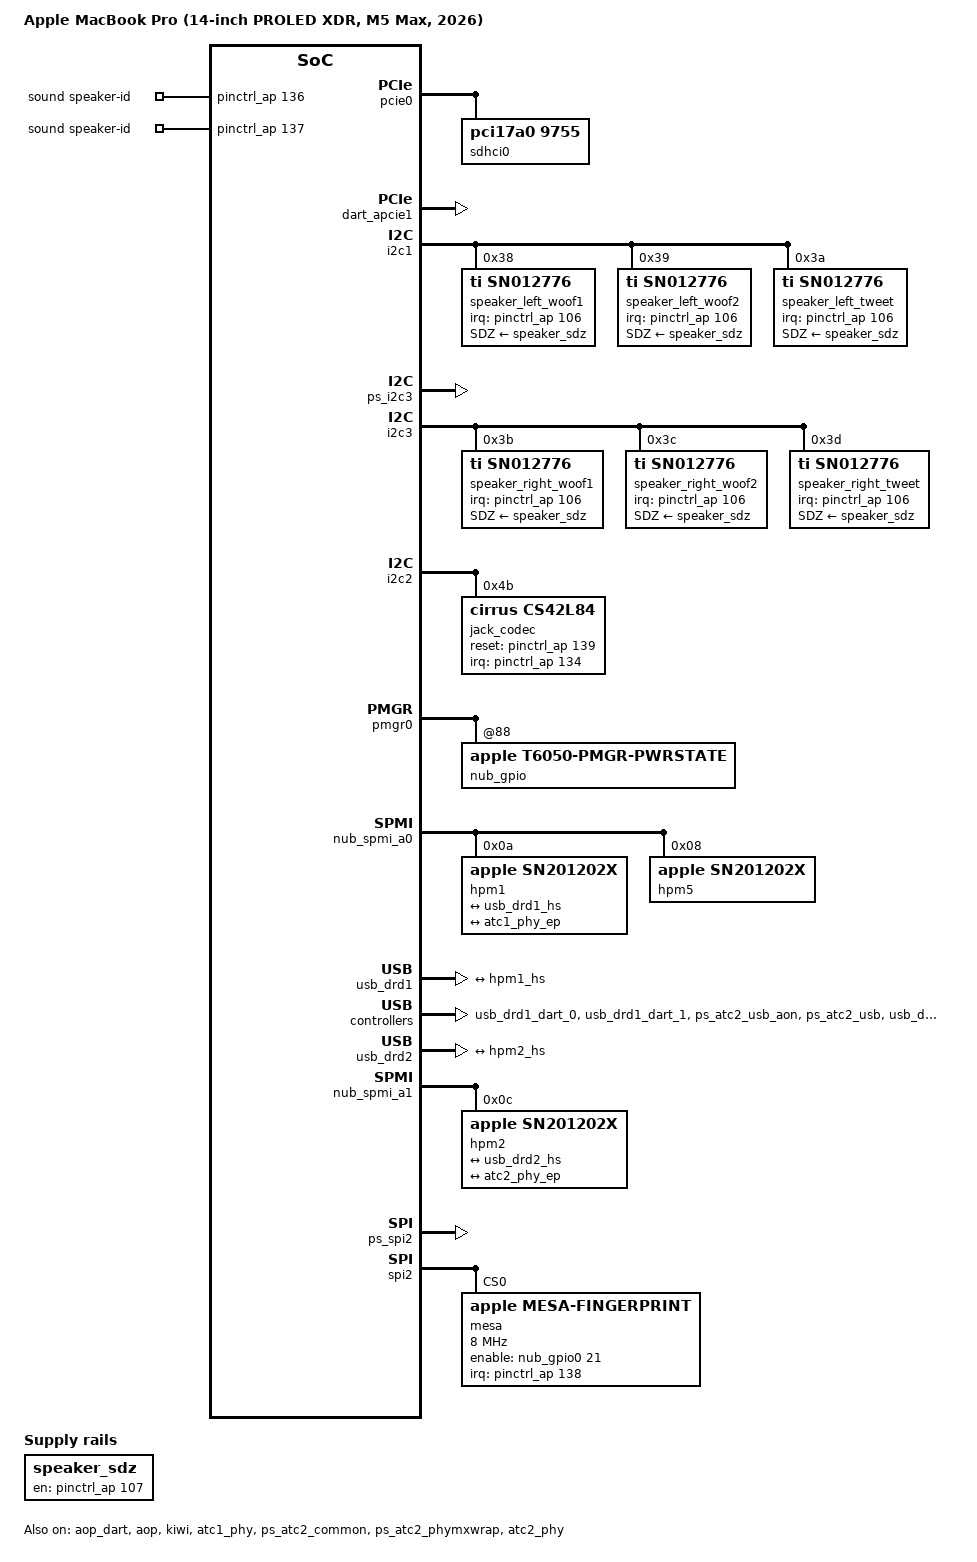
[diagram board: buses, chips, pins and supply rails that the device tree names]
// SPDX-License-Identifier: GPL-2.0+ OR MIT
/*
 * MacBook Pro (14-inch PROLED XDR, M5 Max, 2026)
 *
 * target-type: K114c (Mac17,11)
 *
 * Preliminary: described from the ADT only, not yet booted on the hardware.
 *
 * Copyright The Asahi Linux Contributors
 */

#include "t6050-k114-k116.dtsi"

/ {
	compatible = "apple,k114c", "apple,t6050", "apple,arm-platform";
	model = "Apple MacBook Pro (14-inch PROLED XDR, M5 Max, 2026)";
};

&mtp_multitouch {
	firmware-name = "apple/tpmtfw-k114c.bin";
};

#define T6050_K114C
#include "t6050-peripherals.dtsi"

/ {
	aliases {
		/* kboot fills the N1's factory addresses from /chosen through these */
		wifi0 = &n1_alpha;
		bluetooth0 = &n1_beta;
	};
};

/*
 * PCIe port 0: the N1 (Wi-Fi and Bluetooth), laid out as on J716c: the boot
 * loader trains the link and keeps power, clocks, the PHY and PERST; Linux owns
 * the routing, MSI and the DART. The port stays disabled until the loader
 * trains it.
 */
&pcie0 {
	reg = <0x1c 0xb0000000 0x0 0x10000000>,
	      <0x4 0x14000000 0x0 0x4000>,
	      <0x4 0x10028000 0x0 0x8000>,
	      <0x4 0x17010000 0x0 0x4000>,
	      <0x4 0x10024000 0x0 0x4000>,
	      <0x4 0x11028000 0x0 0x8000>,
	      <0x4 0x17014000 0x0 0x4000>,
	      <0x4 0x11024000 0x0 0x4000>,
	      <0x4 0x17020000 0x0 0x4000>;
	reg-names = "config", "rc", "port0", "phy0", "intr2axi0", "port1", "phy1", "intr2axi1",
		    "phy-shared";
	interrupts = <AIC_IRQ 0 1523 IRQ_TYPE_LEVEL_HIGH>,
		     <AIC_IRQ 0 1531 IRQ_TYPE_LEVEL_HIGH>;
	interrupt-names = "port0", "port1";

	/* The N1's three functions are on DART streams 1-3 */
	iommu-map = <0x100 &dart_apcie0 1 3>,
		    <0x200 &dart_apcie1 1 1>;
	bus-range = <0 4>;
	/* dart_apcie1 probes only once port 1 is up: the host must not wait for it */
	post-init-providers = <&dart_apcie1>;
	status = "okay";

	port00: pci@0,0 {
		device_type = "pci";
		reg = <0x0 0 0 0 0>;
		bus-range = <1 1>;
		apple,link-trained-by-bootloader;
		/* PERST#, driven only by the root-port reset after the N1's ROM stage */
		reset-gpios = <&pinctrl_ap 80 GPIO_ACTIVE_LOW>;
		status = "disabled";

		#address-cells = <3>;
		#size-cells = <2>;
		ranges;

		interrupt-controller;
		#interrupt-cells = <1>;
		interrupt-map-mask = <0 0 0 7>;
		interrupt-map = <0 0 0 1 &port00 0 0 0 0>,
				<0 0 0 2 &port00 0 0 0 1>,
				<0 0 0 3 &port00 0 0 0 2>,
				<0 0 0 4 &port00 0 0 0 3>;

		/* platform ID (board 0x04 << 16) | chip 0x6050 */
		n1_control: control@0,0 {
			compatible = "pci106b,1900";
			reg = <0x10000 0x0 0x0 0x0 0x0>;
			firmware-name = "apple/centauri/k114c-ftab.bin";
			apple,centauri-platform-id = <0x00046050>;
			apple,centauri-protocol = <27>;
		};

		n1_alpha: wifi@0,1 {
			compatible = "pci106b,1902";
			reg = <0x10100 0x0 0x0 0x0 0x0>;
			local-mac-address = [00 00 00 00 00 00];
		};

		n1_beta: bluetooth@0,2 {
			compatible = "pci106b,1903";
			reg = <0x10200 0x0 0x0 0x0 0x0>;
			local-bd-address = [00 00 00 00 00 00];
		};
	};

	/*
	 * PCIe port 1: the SD card reader (ADT pci-bridge1/pcie-sdreader, a GL9755), as on
	 * J714s. The boot loader leaves it down, so the kernel trains it: power is the SMC
	 * pcIO output of function-sd_pwr_en (index 3 below), PERST# GPIO 81, IRQ 1531. It is
	 * on stream 1 of dart-apcie1. The link tunables are pci-bridge1's, as on port 0.
	 */
	port01: pci@1,0 {
		device_type = "pci";
		reg = <0x800 0 0 0 0>;
		bus-range = <2 2>;
		apple,link-trained-by-bootloader;
		pwren-gpios = <&smc_pcio 3 GPIO_ACTIVE_HIGH>;
		reset-gpios = <&pinctrl_ap 81 GPIO_ACTIVE_LOW>;
		apple,apcie-config-tunables = <0x140 4 0x1 0x1>,
			<0x144 4 0xffffff 0x253770>,
			<0x8a8 4 0x1 0x1>,
			<0x8ac 4 0x1 0x1>;
		apple,pcie-rc-tunables = <0x78 4 0x7000 0x0>,
			<0x194 4 0x2 0x2>,
			<0xb80 4 0x7f3f3f 0x7f1e1e>,
			<0xb88 4 0x7f3f3f 0x7f1e1e>;
		apple,pcie-rc-gen3-shadow-tunables = <0x154 4 0xf0f0f0f 0x5050505>,
			<0x890 4 0x3000000 0x0>,
			<0x8a8 4 0xffff0f 0x1>;
		apple,pcie-rc-gen4-shadow-tunables = <0x178 4 0xffff 0x5555>,
			<0x890 4 0x3000000 0x1000000>,
			<0x8a8 4 0xffff0f 0x1>;
		apple,pcie-rc-gen5-shadow-tunables = <0x1ac 4 0xffff 0x5555>,
			<0x890 4 0x3000000 0x2000000>,
			<0x8a8 4 0xffff0f 0x1>;

		#address-cells = <3>;
		#size-cells = <2>;
		ranges;

		interrupt-controller;
		#interrupt-cells = <1>;
		interrupt-map-mask = <0 0 0 7>;
		interrupt-map = <0 0 0 1 &port01 0 0 0 0>,
				<0 0 0 2 &port01 0 0 0 1>,
				<0 0 0 3 &port01 0 0 0 2>,
				<0 0 0 4 &port01 0 0 0 3>;

		/* The GL9755; card detect and write protect active high (ADT *-polarity = 1) */
		sdhci0: mmc@0,0 {
			compatible = "pci17a0,9755";
			reg = <0x20000 0x0 0x0 0x0 0x0>;
			cd-inverted;
			wp-inverted;
		};
	};
};

/*
 * Pin 112's register takes an SError when read, so only the pins a node here
 * names are exposed: 80 and 81 (PCIe ports 0 and 1's PERST#); 106 and 107, the speaker
 * amps' interrupt and shutdown line; 134 and 139, the jack codec's interrupt and
 * reset; 136 and 137, the speaker ID; 138, the Touch ID sensor's data-ready line.
 */
&pinctrl_ap {
	gpio-reserved-ranges = <0 80>, <82 24>, <108 26>, <135 1>, <140 81>;
};

/* It answers only once port 1's root complex is up: pcie-apple then enables it */
&dart_apcie1 {
	apple,manual-availability;
	status = "okay";
};

/*
 * The board's pcIO outputs (t6050-k114-k116.dtsi lists indices 0 to 2), plus index 3,
 * sd_pwr_en pKW8('pcIO', 0x0, 0x190000): ADT pcie-sdreader function-sd_pwr_en.
 */
&smc_pcio {
	apple,output-commands = /bits/ 64 <0x001a000000000000 0x000f000000800000
					   0x011c000000010000 0x0019000000000000>;
};

#include "t6050-k114c-gpu.dtsi"
#include "t6050-k114c-isp.dtsi"

/*
 * Sound through the AOP, as on J813: its audio service runs the serializers, the
 * CS42L84 headphone jack on admac-base-ns TX2/RX2 and the six SN012776 speaker amps
 * on TX0, their voltage and current sense on RX0 (ADT iop-audio-controller).
 *
 * The amps (ADT /arm-io/i2c1/audio-speaker* and /arm-io/i2c3/audio-speaker*) share
 * one shutdown line, AP pin 107 (function-reset of the first), and one fault
 * interrupt, pin 106. The ADT's speaker-config gives amp N playback slot N, its
 * voltage sense in slot 4N and current sense in 4N+2, in the order of the first
 * amp's speakerN: left woofer 1, right woofer 1, left woofer 2, right woofer 2,
 * left tweeter, right tweeter. The firmware's speaker frame is 250 BCLKs of 12 MHz
 * (ADT audio-speaker stream), which the amps' ratio detection rejects.
 */
/ {
	speaker_sdz: regulator-sn012776-sdz {
		compatible = "regulator-fixed";
		regulator-name = "sn012776-sdz";
		gpios = <&pinctrl_ap 107 GPIO_ACTIVE_HIGH>;
		enable-active-high;
	};
};

&i2c1 {
	status = "okay";

	speaker_left_woof1: codec@38 {
		compatible = "ti,sn012776", "ti,tas2764";
		reg = <0x38>;
		SDZ-supply = <&speaker_sdz>;
		apple,sdz-group-fail-closed;
		#sound-dai-cells = <0>;
		sound-name-prefix = "Left Woofer 1";
		interrupts-extended = <&pinctrl_ap 106 IRQ_TYPE_LEVEL_LOW>;
		ti,imon-slot-no = <2>;
		ti,vmon-slot-no = <0>;
		ti,bclk-ratio = <250>;
	};

	speaker_left_woof2: codec@39 {
		compatible = "ti,sn012776", "ti,tas2764";
		reg = <0x39>;
		SDZ-supply = <&speaker_sdz>;
		apple,sdz-group-fail-closed;
		#sound-dai-cells = <0>;
		sound-name-prefix = "Left Woofer 2";
		interrupts-extended = <&pinctrl_ap 106 IRQ_TYPE_LEVEL_LOW>;
		ti,imon-slot-no = <10>;
		ti,vmon-slot-no = <8>;
		ti,bclk-ratio = <250>;
	};

	speaker_left_tweet: codec@3a {
		compatible = "ti,sn012776", "ti,tas2764";
		reg = <0x3a>;
		SDZ-supply = <&speaker_sdz>;
		apple,sdz-group-fail-closed;
		#sound-dai-cells = <0>;
		sound-name-prefix = "Left Tweeter";
		interrupts-extended = <&pinctrl_ap 106 IRQ_TYPE_LEVEL_LOW>;
		ti,imon-slot-no = <18>;
		ti,vmon-slot-no = <16>;
		ti,bclk-ratio = <250>;
	};
};

/* The I2C power states have no described parent (SIO), as for i2c1 and i2c2 */
&ps_i2c3 {
	/delete-property/ power-domains;
	status = "okay";
};

&i2c3 {
	/* The ADT gives i2c1, i2c2 and i2c3 the same clock-ids (4) */
	clocks = <&clkref>;
	status = "okay";

	speaker_right_woof1: codec@3b {
		compatible = "ti,sn012776", "ti,tas2764";
		reg = <0x3b>;
		SDZ-supply = <&speaker_sdz>;
		apple,sdz-group-fail-closed;
		#sound-dai-cells = <0>;
		sound-name-prefix = "Right Woofer 1";
		interrupts-extended = <&pinctrl_ap 106 IRQ_TYPE_LEVEL_LOW>;
		ti,imon-slot-no = <6>;
		ti,vmon-slot-no = <4>;
		ti,bclk-ratio = <250>;
	};

	speaker_right_woof2: codec@3c {
		compatible = "ti,sn012776", "ti,tas2764";
		reg = <0x3c>;
		SDZ-supply = <&speaker_sdz>;
		apple,sdz-group-fail-closed;
		#sound-dai-cells = <0>;
		sound-name-prefix = "Right Woofer 2";
		interrupts-extended = <&pinctrl_ap 106 IRQ_TYPE_LEVEL_LOW>;
		ti,imon-slot-no = <14>;
		ti,vmon-slot-no = <12>;
		ti,bclk-ratio = <250>;
	};

	speaker_right_tweet: codec@3d {
		compatible = "ti,sn012776", "ti,tas2764";
		reg = <0x3d>;
		SDZ-supply = <&speaker_sdz>;
		apple,sdz-group-fail-closed;
		#sound-dai-cells = <0>;
		sound-name-prefix = "Right Tweeter";
		interrupts-extended = <&pinctrl_ap 106 IRQ_TYPE_LEVEL_LOW>;
		ti,imon-slot-no = <22>;
		ti,vmon-slot-no = <20>;
		ti,bclk-ratio = <250>;
	};
};

/*
 * The CS42L84 headphone codec (ADT /arm-io/i2c2/audio-codec-output): its reset line
 * is AP pin 139, driven high to run the codec, and its interrupt AP pin 134, level
 * low.
 */
&i2c2 {
	status = "okay";

	jack_codec: codec@4b {
		compatible = "cirrus,cs42l84";
		reg = <0x4b>;
		reset-gpios = <&pinctrl_ap 139 GPIO_ACTIVE_HIGH>;
		interrupts-extended = <&pinctrl_ap 134 IRQ_TYPE_LEVEL_LOW>;
		#sound-dai-cells = <0>;
		sound-name-prefix = "Jack";
	};
};

/ {
	sound {
		compatible = "apple,j714-macaudio", "apple,macaudio";
		model = "MacBook Pro K114";
		/* ADT audio-speaker function-speaker-id0 and -id1 */
		speaker-id-gpios = <&pinctrl_ap 136 GPIO_ACTIVE_HIGH>,
				   <&pinctrl_ap 137 GPIO_ACTIVE_HIGH>;
		#address-cells = <1>;
		#size-cells = <0>;

		dai-link@0 {
			reg = <0>;
			link-name = "Headphone Jack";

			cpu {
				sound-dai = <&aop_audio 0>;
			};

			codec {
				sound-dai = <&jack_codec>;
			};
		};

		dai-link@1 {
			reg = <1>;
			link-name = "Speaker";
			/*
			 * Codecs in ADT speaker-config order, so that macaudio gives them
			 * playback slots 0-5 as macOS does (left channels in slots 0, 2
			 * and 4, right in 1, 3 and 5). The idle masks are the ADT
			 * amp-tx-zd-config rows 0 and 1: left woofer 1 drives zeros in the
			 * right amps' sense slots, right woofer 1 in the left amps'.
			 */
			dai-tdm-idle-mode-0 = "zero";
			dai-tdm-slot-tx-idle-mask-0 = <0xfff0f0f0>;
			dai-tdm-idle-mode-1 = "zero";
			dai-tdm-slot-tx-idle-mask-1 = <0xff0f0f0f>;

			cpu {
				sound-dai = <&aop_audio 3>;
			};

			codec {
				sound-dai = <&speaker_left_woof1>, <&speaker_right_woof1>,
					    <&speaker_left_woof2>, <&speaker_right_woof2>,
					    <&speaker_left_tweet>, <&speaker_right_tweet>;
			};
		};
	};
};

/* The AOP, booted through its setup port, with its sensor and audio services. */
&aop_mbox {
	status = "okay";
};

&aop_setup_mbox {
	status = "okay";
};

&aop_dart {
	status = "okay";
};

&aop {
	status = "okay";
};

/*
 * The microphone array: ADT audio-hp-mic, three microphones on leap-s RX0 through the
 * proxy ADMAC (Linux channel 1, as on J813), captured by the AOP audio service's own card.
 */
&admac_base_ns {
	status = "okay";
};

&admac_ec_proxy {
	status = "okay";
};

&aop_audio {
	apple,chassis-name = "K114";
	apple,machine-kind = "MacBook Pro";
	dmas = <&admac_base_ns 4>, <&admac_base_ns 5>,
	       <&admac_base_ns 0>, <&admac_base_ns 1>,
	       <&admac_ec_proxy 1>;
	dma-names = "cout", "cin", "spkr", "sense", "hpai";
};

/*
 * The touchscreen (kiwi). Its reset and supply are NUB GPIO pins 25 and 26 (ADT
 * function-reset and function-power), not the shared multi-touch AFE reset.
 * The NUB GPIO block is always on and keeps its interrupts. Level 1 asserts
 * the reset, as for the AFE one [INFERENCE].
 */
&pmgr0 {
	ps_nub_gpio: power-controller@88 {
		compatible = "apple,t6050-pmgr-pwrstate", "apple,t8103-pmgr-pwrstate";
		reg = <0x88 4>;
		label = "nub_gpio";
		#power-domain-cells = <0>;
		#reset-cells = <0>;
		apple,always-on;
	};
};

&nub_gpio0 {
	power-domains = <&ps_nub_gpio>;
	gpio-controller;
	#gpio-cells = <2>;
	gpio-ranges = <&nub_gpio0 0 0 61>;
	apple,npins = <61>;
	status = "okay";
};

&kiwi {
	firmware-name = "apple/tpkiwifw-k114c.bin";
	apple,power-method = <2>;
	apple,reset-gpios = <&nub_gpio0 25 GPIO_ACTIVE_LOW>;
	apple,power-gpios = <&nub_gpio0 26 GPIO_ACTIVE_HIGH>;
	status = "okay";
};

/*
 * The kiwi 24 MHz clock pad (NUB pin 22) and display_sync pad (AP pin 11) are pad
 * functions, not host GPIOs: function 1 on each.
 */
&pinctrl_ap {
	kiwi_dsync_pins: kiwi-dsync-pins {
		pinmux = <0x1000b>;	/* APPLE_PINMUX(11, 1) */
	};
};

&nub_gpio0 {
	kiwi_clk24_pins: kiwi-clk24-pins {
		pinmux = <0x10016>;	/* APPLE_PINMUX(22, 1) */
	};
};

&mtp_hid {
	pinctrl-0 = <&kiwi_clk24_pins>, <&kiwi_dsync_pins>;
	pinctrl-names = "default";
};

/*
 * ==== The left-front USB-C port (ATC1) ====
 *
 * ADT /arm-io/nub-spmi-a0/hpm1 (SN201202x, SPMI address 0xa, port-number 2, port-location
 * "left-front", acio-parent acio1), with atc-phy1, usb-drd1 and dart-usb1. The K114cAP ADT
 * has the same hpm0, hpm1, hpm5, atc-phy and usb-drd nodes as the J714cAP one, so this is the
 * J714c port block. The ATC1 template nodes of t6050-dieX.dtsi are enabled here; the boards
 * sharing t6050-k114-k116.dtsi keep them disabled. The port's USB4/Thunderbolt router
 * (/arm-io/acio1) and its DisplayPort routes are not described; the PHY runs in USB mode.
 *
 * The left-back port (ATC0, hpm0) is the boot link's debug port; the combo PHY driver
 * excludes it on purpose (apple,port-index 0).
 */
/ {
	aliases {
		atcphy1 = &atc1_phy;
	};
};

&nub_spmi_a0 {
	status = "okay";
	/* reg[1]: the generation 4 fault queue, which macOS empties when the controller starts */
	reg = <0x2 0x8a188000 0x0 0x4000>,
	      <0x2 0x8a184000 0x0 0x4000>;

	hpm1: usb-pd@a {
		compatible = "apple,sn201202x";
		reg = <0xa SPMI_USID>;

		connector {
			compatible = "usb-c-connector";
			label = "USB-C Left Front";
			power-role = "dual";
			data-role = "dual";

			ports {
				#address-cells = <1>;
				#size-cells = <0>;

				port@0 {
					reg = <0>;
					hpm1_hs: endpoint {
						remote-endpoint = <&usb_drd1_hs>;
					};
				};

				port@1 {
					reg = <1>;
					hpm1_ss: endpoint {
						remote-endpoint = <&atc1_phy_ep>;
					};
				};
			};
		};
	};

	/*
	 * The MagSafe 3 port's PD controller (ADT hpm5, port-type 0x11). It has no USB data path,
	 * so it gets no connector node. Its ADT features-supported is <3>: no liquid detection.
	 */
	hpm5: usb-pd@8 {
		compatible = "apple,sn201202x";
		reg = <0x8 SPMI_USID>;
		apple,no-liquid-detection;
	};
};

&atc1_phy_mbox {
	status = "okay";
};

&atc1_phy {
	status = "okay";

	port {
		atc1_phy_ep: endpoint {
			remote-endpoint = <&hpm1_ss>;
		};
	};
};

&usb_drd1 {
	status = "okay";

	port {
		usb_drd1_hs: endpoint {
			remote-endpoint = <&hpm1_hs>;
		};
	};
};

&usb_drd1_dart_0 {
	status = "okay";
};

&usb_drd1_dart_1 {
	status = "okay";
};

/*
 * ==== The right USB-C port (ATC2), USB only ====
 *
 * ADT /arm-io/nub-spmi-a1/hpm2 (SN201202x, SPMI address 0xc, port-location "right", acio-parent
 * acio2), with atc-phy2, usb-drd2 and dart-usb2. The HPM is on its own bus, nub-spmi-a1, and
 * nothing hands the port off, so the power domains, the PHY mailbox, the PHY, the DWC3 and its
 * DARTs are enabled outright, as t6050-max-atc2.dtsi does for the J714c and J716c (linux#1714).
 * The USB4/Thunderbolt router (acio2) and the DisplayPort route are not described.
 */
/ {
	aliases {
		atcphy2 = &atc2_phy;
	};
};

&ps_atc2_common {
	status = "okay";
};

&ps_atc2_usb_aon {
	status = "okay";
};

&ps_atc2_phymxwrap {
	status = "okay";
};

&ps_atc2_usb {
	status = "okay";
};

&atc2_phy_mbox {
	status = "okay";
};

&atc2_phy {
	status = "okay";

	port {
		atc2_phy_ep: endpoint {
			remote-endpoint = <&hpm2_ss>;
		};
	};
};

&usb_drd2 {
	status = "okay";

	port {
		usb_drd2_hs: endpoint {
			remote-endpoint = <&hpm2_hs>;
		};
	};
};

&usb_drd2_dart_0 {
	status = "okay";
};

&usb_drd2_dart_1 {
	status = "okay";
};

&nub_spmi_a1 {
	status = "okay";
	/* the driver polls the PD controllers and refuses an interrupt on this bus */
	/delete-property/ interrupts;

	hpm2: usb-pd@c {
		compatible = "apple,sn201202x";
		reg = <0xc SPMI_USID>;

		connector {
			compatible = "usb-c-connector";
			label = "USB-C Right";
			power-role = "dual";
			data-role = "dual";

			ports {
				#address-cells = <1>;
				#size-cells = <0>;

				port@0 {
					reg = <0>;
					hpm2_hs: endpoint {
						remote-endpoint = <&usb_drd2_hs>;
					};
				};

				port@1 {
					reg = <1>;
					hpm2_ss: endpoint {
						remote-endpoint = <&atc2_phy_ep>;
					};
				};
			};
		};
	};
};

/*
 * Touch ID (ADT spi2/mesa, as on J714s, linux#1587): the Mesa sensor (sensor-id 0x3356) at 8 MHz
 * on chip select 0, powered by NUB GPIO 21, data ready on AP GPIO 138. The controller's clock
 * (ADT clock-ids 451) is the 24 MHz reference. ps_nub_gpio and nub_gpio0 are enabled above.
 */
&ps_spi2 {
	status = "okay";
};

&spi2 {
	clocks = <&clkref>;
	status = "okay";

	mesa: fingerprint@0 {
		compatible = "apple,mesa-fingerprint";
		reg = <0>;
		spi-max-frequency = <8000000>;
		spi-cpol;
		spi-cs-setup-delay-ns = <20>;
		spi-cs-hold-delay-ns = <20>;
		enable-gpios = <&nub_gpio0 21 GPIO_ACTIVE_HIGH>;
		interrupt-parent = <&pinctrl_ap>;
		interrupts = <138 IRQ_TYPE_EDGE_RISING>;
		/* Per-device factory data from this Mac's own iBoot system container */
		firmware-name = "apple/mesacal-k114c.bin", "apple/msrk-k114c.bin";
	};
};
